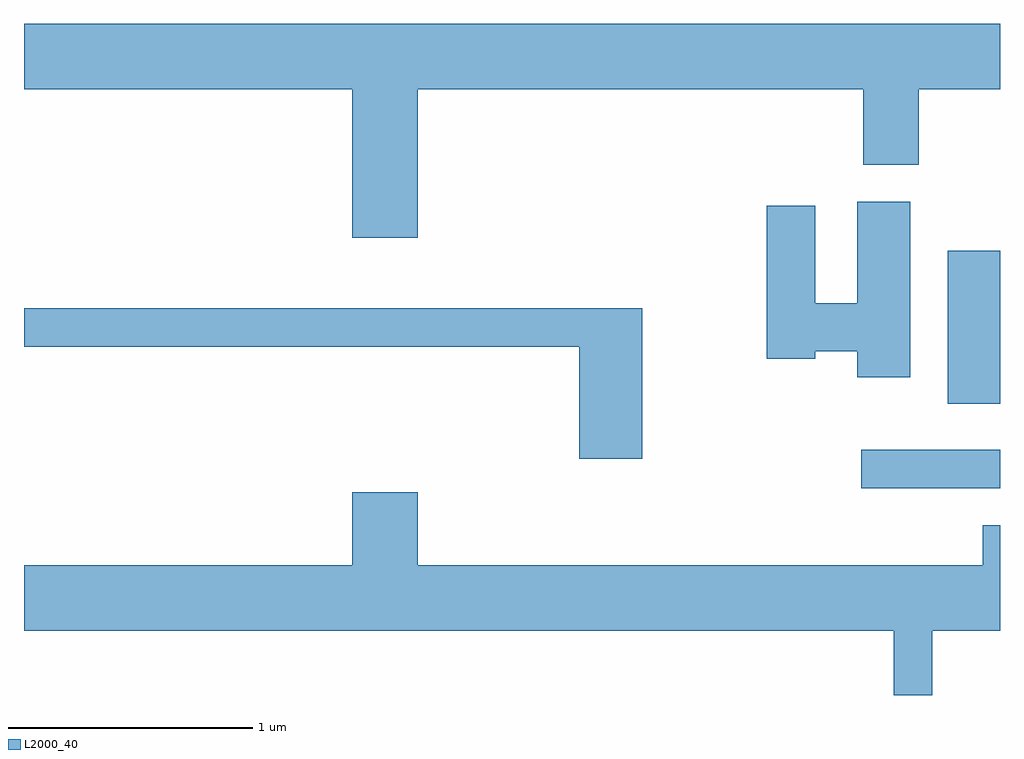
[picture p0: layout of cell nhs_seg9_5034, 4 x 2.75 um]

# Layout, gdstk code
import gdstk
lib = gdstk.Library(unit=1e-6, precision=1e-09)
def R(c, l, rs):  # rectangles x0, y0, x1, y1
    for r in rs: c.add(gdstk.rectangle(r[:2], r[2:], *l))
def P(c, l, *ps):  # polygons
    for p in ps: c.add(gdstk.Polygon(p, *l))
L2000_40 = (2000, 40)

nhs_seg9_5034 = lib.new_cell('nhs_seg9_5034')
R(nhs_seg9_5034, L2000_40, [(337.043,2001.281,337.611,2001.439), (337.396,2001.626,337.611,2002.254)])
P(nhs_seg9_5034, L2000_40, [(335.224,2002.916),(337.051,2002.916),(337.051,2002.606),(337.279,2002.606),(337.279,2002.916),(337.611,2002.916),(337.611,2003.184),(333.611,2003.184),(333.611,2002.916),(334.956,2002.916),(334.956,2002.306),(335.224,2002.306)],
  [(337.244,2002.454),(337.026,2002.454),(337.026,2002.039),(336.854,2002.039),(336.854,2002.439),(336.656,2002.439),(336.656,2001.811),(336.854,2001.811),(336.854,2001.841),(337.026,2001.841),(337.026,2001.736),(337.244,2001.736)],
  [(336.144,2002.019),(333.611,2002.019),(333.611,2001.861),(335.886,2001.861),(335.886,2001.401),(336.144,2001.401)],
  [(337.334,2000.696),(337.611,2000.696),(337.611,2001.129),(337.541,2001.129),(337.541,2000.964),(335.224,2000.964),(335.224,2001.264),(334.956,2001.264),(334.956,2000.964),(333.611,2000.964),(333.611,2000.696),(337.176,2000.696),(337.176,2000.432),(337.334,2000.432)])

lib.write_gds('nhs_seg9_5034.gds')
